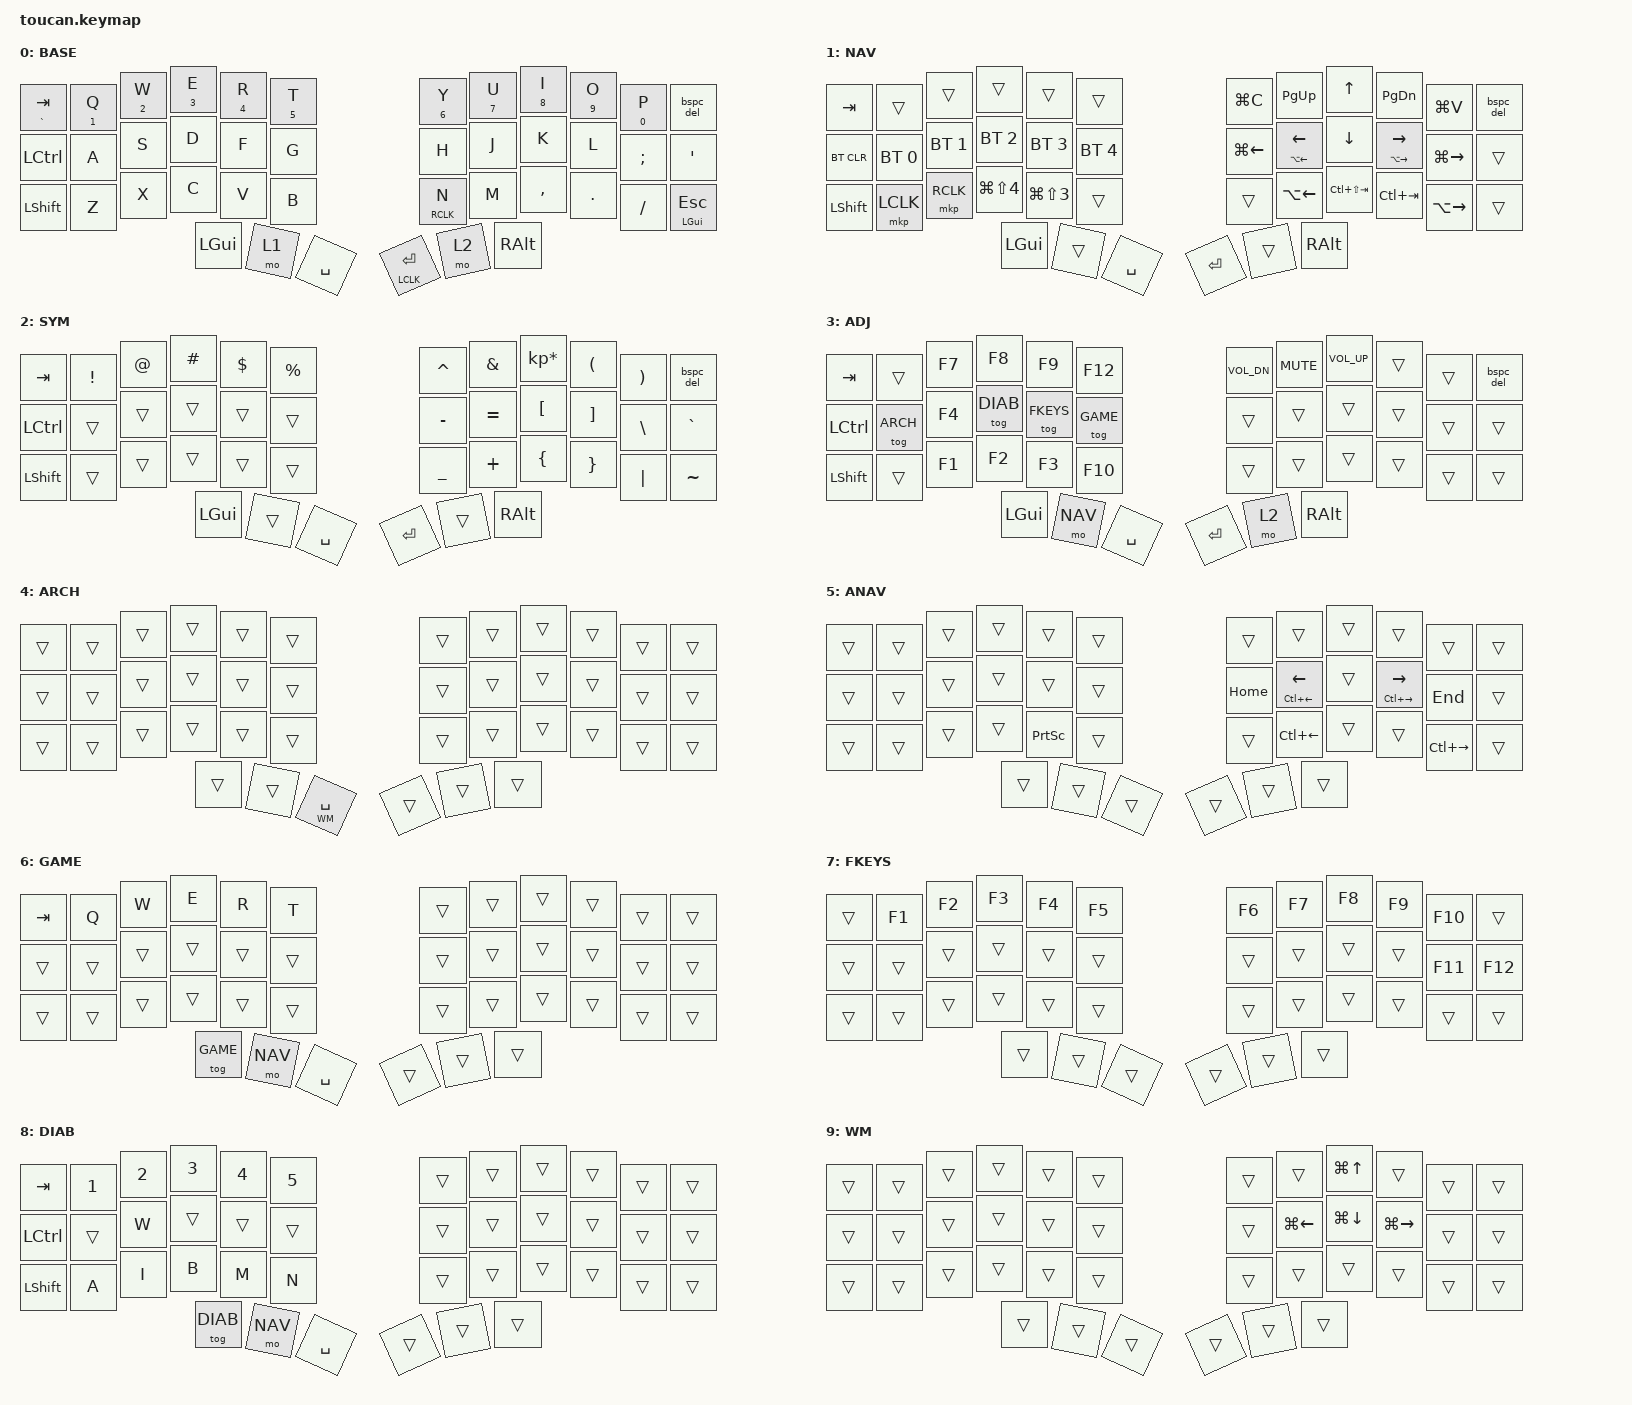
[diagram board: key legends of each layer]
#include <behaviors.dtsi>
#include <dt-bindings/zmk/keys.h>
#include <dt-bindings/zmk/bt.h>
#include <dt-bindings/zmk/outputs.h>
#include <dt-bindings/zmk/pointing.h>

#define BASE 0
#define NAV  1
#define SYM  2
#define ADJ  3
#define ARCH 4
#define ARCH_NAV 5
#define GAME 6
#define FKEYS 7
#define DIAB 8
#define WM 9

/ {
    behaviors {
        bspc_del: backspace_delete {
            compatible = "zmk,behavior-mod-morph";
            #binding-cells = <0>;
            bindings = <&kp BSPC>, <&kp DEL>;
            mods = <(MOD_LSFT|MOD_RSFT)>;
        };

        ht: hold_tap_num {
            compatible = "zmk,behavior-hold-tap";
            #binding-cells = <2>;
            tapping-term-ms = <250>;
            flavor = "tap-preferred";
            bindings = <&kp>, <&kp>;
        };

        ht_click: hold_tap_click {
            compatible = "zmk,behavior-hold-tap";
            #binding-cells = <2>;
            tapping-term-ms = <250>;
            flavor = "tap-preferred";
            bindings = <&mkp>, <&kp>;
        };

        ht_mod_click: hold_tap_mod_click {
            compatible = "zmk,behavior-hold-tap";
            #binding-cells = <2>;
            tapping-term-ms = <250>;
            flavor = "tap-preferred";
            bindings = <&kp>, <&mkp>;
        };

        lt_wm: layer_tap_wm {
            compatible = "zmk,behavior-hold-tap";
            #binding-cells = <2>;
            tapping-term-ms = <250>;
            flavor = "tap-preferred";
            bindings = <&mo>, <&kp>;
        };
    };

    conditional_layers {
        compatible = "zmk,conditional-layers";
        tri_layer {
            if-layers = <1 2>;
            then-layer = <3>;
        };
        arch_nav {
            if-layers = <1 4>;
            then-layer = <5>;
        };
    };

    keymap {
        compatible = "zmk,keymap";

        base {
            display-name = "BASE";
            bindings = <
                &ht GRAVE TAB   &ht N1 Q &ht N2 W &ht N3 E &ht N4 R &ht N5 T   &ht N6 Y &ht N7 U  &ht N8 I     &ht N9 O   &ht N0 P    &bspc_del
                &kp LCTRL &kp A &kp S &kp D &kp F &kp G   &kp H &kp J  &kp K     &kp L   &kp SEMI &kp SQT
                &kp LSHFT &kp Z &kp X &kp C &kp V &kp B   &ht_click RCLK N &kp M  &kp COMMA &kp DOT &kp FSLH &ht LGUI ESC
                                &kp LGUI &mo 1 &kp SPACE   &ht_click LCLK RET &mo 2 &kp RALT
            >;
        };

        nav {
            display-name = "NAV";
            bindings = <
                &kp TAB     &trans          &trans       &trans       &trans       &trans            &kp LG(C)    &kp PG_UP  &kp UP        &kp PG_DN      &kp LG(V)      &bspc_del
                &bt BT_CLR  &bt BT_SEL 0    &bt BT_SEL 1 &bt BT_SEL 2 &bt BT_SEL 3 &bt BT_SEL 4   &kp LG(LEFT) &ht LA(LEFT) LEFT   &kp DOWN      &ht LA(RIGHT) RIGHT      &kp LG(RIGHT)  &trans
                &kp LSHFT   &mkp LCLK  &mkp RCLK    &kp LG(LS(N4)) &kp LG(LS(N3)) &trans      &trans       &kp LA(LEFT) &kp LC(LS(TAB)) &kp LC(TAB) &kp LA(RIGHT)  &trans
                                                &kp LGUI     &trans       &kp SPACE      &kp RET  &trans   &kp RALT
            >;
        };

        sym {
            display-name = "SYM";
            bindings = <
                &kp TAB   &kp EXCL &kp AT &kp HASH &kp DLLR &kp PRCNT   &kp CARET &kp AMPS  &kp KP_MULTIPLY &kp LPAR &kp RPAR &bspc_del
                &kp LCTRL &trans   &trans &trans   &trans   &trans      &kp MINUS &kp EQUAL &kp LBKT        &kp RBKT &kp BSLH &kp GRAVE
                &kp LSHFT &trans   &trans &trans   &trans   &trans      &kp UNDER &kp PLUS  &kp LBRC        &kp RBRC &kp PIPE &kp TILDE
                                          &kp LGUI &trans   &kp SPACE   &kp RET   &trans    &kp RALT
            >;
        };

        adj {
            display-name = "ADJ";
            bindings = <
                &kp TAB   &trans &kp F7 &kp F8 &kp F9 &kp F12   &kp C_VOL_DN &kp C_MUTE  &kp C_VOL_UP &trans    &trans   &bspc_del
                &kp LCTRL &tog ARCH &kp F4 &tog DIAB &tog FKEYS &tog GAME      &trans       &trans      &trans       &trans    &trans   &trans
                &kp LSHFT &trans &kp F1 &kp F2 &kp F3 &kp F10   &trans       &trans      &trans       &trans    &trans   &trans
                                   &kp LGUI &mo NAV &kp SPACE   &kp RET &mo 2 &kp RALT
            >;
        };

        arch {
            display-name = "ARCH";
            bindings = <
                &trans &trans &trans &trans &trans &trans   &trans &trans &trans &trans &trans &trans
                &trans &trans &trans &trans &trans &trans   &trans &trans &trans &trans &trans &trans
                &trans &trans &trans &trans &trans &trans   &trans &trans &trans &trans &trans &trans
                                     &trans &trans &lt_wm WM SPACE   &trans &trans &trans
            >;
        };

        arch_nav {
            display-name = "ANAV";
            bindings = <
                &trans &trans &trans &trans &trans &trans         &trans        &trans   &trans   &trans  &trans        &trans
                &trans &trans &trans &trans &trans &trans         &kp HOME      &ht LC(LEFT) LEFT   &trans   &ht LC(RIGHT) RIGHT  &kp END       &trans
                &trans &trans &trans &trans &kp PSCRN &trans      &trans        &kp LC(LEFT) &trans &trans &kp LC(RIGHT) &trans
                                           &trans &trans &trans  &trans &trans &trans
            >;
        };

        game {
            display-name = "GAME";
            bindings = <
                &kp TAB   &kp Q &kp W &kp E &kp R &kp T         &trans &trans &trans &trans &trans &trans
                &trans    &trans &trans &trans &trans &trans        &trans &trans &trans &trans &trans &trans
                &trans    &trans &trans &trans &trans &trans        &trans &trans &trans &trans &trans &trans
                                    &tog GAME &mo NAV &kp SPACE   &trans &trans &trans
            >;
        };

        fkeys {
            display-name = "FKEYS";
            bindings = <
                &trans    &kp F1 &kp F2 &kp F3 &kp F4 &kp F5   &kp F6 &kp F7 &kp F8 &kp F9 &kp F10 &trans
                &trans    &trans &trans &trans &trans &trans      &trans &trans &trans &trans &kp F11 &kp F12
                &trans    &trans &trans &trans &trans &trans      &trans &trans &trans &trans &trans  &trans
                                        &trans &trans &trans      &trans &trans &trans
            >;
        };

        diab {
            display-name = "DIAB";
            bindings = <
                &kp TAB   &kp N1 &kp N2 &kp N3 &kp N4 &kp N5   &trans &trans &trans &trans &trans &trans
                &kp LCTRL &trans  &kp W  &trans  &trans  &trans    &trans &trans &trans &trans &trans &trans
                &kp LSHFT &kp A  &kp I  &kp B  &kp M  &kp N    &trans &trans &trans &trans &trans &trans
                                   &tog DIAB &mo NAV &kp SPACE   &trans &trans &trans
            >;
        };

        wm {
            display-name = "WM";
            bindings = <
                &trans &trans &trans &trans &trans &trans   &trans &trans &kp LG(UP) &trans &trans &trans
                &trans &trans &trans &trans &trans &trans   &trans &kp LG(LEFT) &kp LG(DOWN) &kp LG(RIGHT) &trans &trans
                &trans &trans &trans &trans &trans &trans   &trans &trans &trans &trans &trans &trans
                                     &trans &trans &trans   &trans &trans &trans
            >;
        };
    };
};
